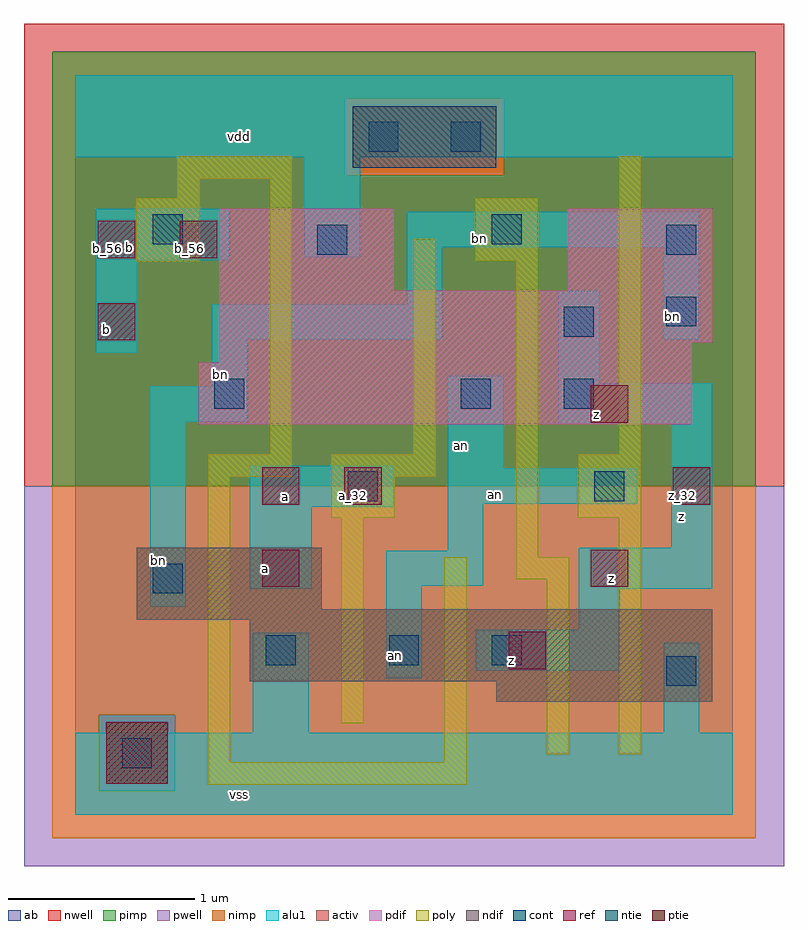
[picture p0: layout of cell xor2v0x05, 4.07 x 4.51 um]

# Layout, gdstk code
import gdstk
lib = gdstk.Library(unit=1e-6, precision=2.5e-09)
def R(c, l, rs):  # rectangles x0, y0, x1, y1
    for r in rs: c.add(gdstk.rectangle(r[:2], r[2:], *l))
ndif = (3, 0)
pdif = (4, 0)
ntie = (5, 0)
ptie = (6, 0)
ref = (24, 0)
cont = (25, 0)
pwell = (41, 0)
nwell = (42, 0)
activ = (43, 0)
pimp = (44, 0)
nimp = (45, 0)
poly = (46, 0)
alu1 = (49, 0)
ab = (63, 0)

xor2v0x05 = lib.new_cell('xor2v0x05')
R(xor2v0x05, ndif, [(2.255,0.605,3.41,0.715), (0.935,0.715,3.41,1.045), (0.33,1.045,3.41,1.1), (0.33,1.1,1.32,1.43)])
R(xor2v0x05, pdif, [(0.66,2.09,3.3,2.42), (0.77,2.42,3.3,2.53), (0.77,2.53,3.41,2.805), (0.77,2.805,1.705,3.245), (2.64,2.805,3.41,3.245)])
R(xor2v0x05, ntie, [(1.485,3.465,2.255,3.795)])
R(xor2v0x05, ptie, [(0.165,0.165,0.495,0.495)])
R(xor2v0x05, ref, [(2.32,0.78,2.52,0.98), (1,1.22,1.2,1.42), (2.76,1.22,2.96,1.42), (1,1.66,1.2,1.86), (1.44,1.66,1.64,1.86), (3.2,1.66,3.4,1.86), (2.76,2.1,2.96,2.3), (0.12,2.54,0.32,2.74), (0.12,2.98,0.32,3.18), (0.56,2.98,0.76,3.18)])
R(xor2v0x05, cont, [(0.25,0.25,0.41,0.41), (3.165,0.69,3.325,0.85), (1.02,0.8,1.18,0.96), (1.68,0.8,1.84,0.96), (2.23,0.8,2.39,0.96), (0.415,1.185,0.575,1.345), (1.46,1.68,1.62,1.84), (2.78,1.68,2.94,1.84), (0.745,2.175,0.905,2.335), (2.065,2.175,2.225,2.335), (2.615,2.175,2.775,2.335), (2.615,2.56,2.775,2.72), (3.165,2.615,3.325,2.775), (1.295,3,1.455,3.16), (3.165,3,3.325,3.16), (0.415,3.055,0.575,3.215), (2.23,3.055,2.39,3.215), (1.57,3.55,1.73,3.71), (2.01,3.55,2.17,3.71)])
R(xor2v0x05, pwell, [(-0.275,-0.275,3.795,1.76)])
R(xor2v0x05, nwell, [(-0.275,1.76,3.795,4.235)])
R(xor2v0x05, activ, [(0.165,0.165,0.495,0.495), (2.255,0.605,3.41,0.715), (0.935,0.715,3.41,1.045), (0.33,1.045,3.41,1.1), (0.33,1.1,1.32,1.43), (0.66,2.09,3.3,2.42), (0.77,2.42,3.3,2.53), (0.77,2.53,3.41,2.805), (0.77,2.805,1.705,3.245), (2.64,2.805,3.41,3.245), (1.485,3.465,2.255,3.795)])
R(xor2v0x05, pimp, [(0.125,0.125,0.535,0.535), (-0.125,1.76,3.645,3.425), (-0.125,3.425,1.445,3.835), (2.295,3.425,3.645,3.835), (-0.125,3.835,3.645,4.085)])
R(xor2v0x05, nimp, [(-0.125,-0.125,3.645,0.125), (-0.125,0.125,0.125,0.535), (0.535,0.125,3.645,0.535), (-0.125,0.535,3.645,1.76), (1.445,3.425,2.295,3.835)])
R(xor2v0x05, poly, [(0.71,0.16,2.095,0.28), (0.71,0.28,0.83,1.81), (1.975,0.28,2.095,1.38), (2.525,0.325,2.645,1.26), (2.91,0.325,3.03,1.59), (1.425,0.49,1.545,1.59), (2.36,1.26,2.645,1.38), (2.36,1.38,2.48,2.965), (1.37,1.59,1.71,1.81), (2.69,1.59,3.03,1.93), (0.71,1.81,1.16,1.93), (1.37,1.81,1.93,1.93), (1.04,1.93,1.16,3.405), (1.81,1.93,1.93,3.085), (2.91,1.93,3.03,3.525), (0.325,2.965,0.665,3.305), (2.14,2.965,2.48,3.305), (0.545,3.305,0.665,3.405), (0.545,3.405,1.16,3.525)])
R(xor2v0x05, alu1, [(0,0,3.52,0.44), (0.95,0.44,1.25,0.975), (3.15,0.44,3.34,0.92), (1.665,0.73,1.855,1.225), (2.145,0.77,2.915,0.99), (2.695,0.99,2.915,1.21), (0.4,1.115,0.59,2.105), (0.935,1.21,1.265,1.65), (2.695,1.21,3.41,1.43), (1.665,1.225,2.185,1.415), (1.995,1.415,2.185,1.665), (3.19,1.43,3.41,2.09), (0.935,1.65,1.705,1.87), (1.995,1.665,3.01,1.855), (1.995,1.855,2.295,2.35), (2.585,2.09,3.41,2.31), (0.4,2.105,0.92,2.295), (0.73,2.295,0.92,2.545), (2.585,2.31,2.805,2.805), (0.11,2.475,0.33,2.97), (0.73,2.545,1.965,2.735), (3.15,2.545,3.34,3.04), (1.775,2.735,1.965,3.04), (0.11,2.97,0.825,3.245), (1.225,2.985,1.525,3.52), (1.775,3.04,3.34,3.23), (0,3.52,3.52,3.96)])
R(xor2v0x05, ab, [(0,0,3.52,3.96)])
xor2v0x05.add(gdstk.Label('vss', (0.88,0.11), layer=49, texttype=0))
xor2v0x05.add(gdstk.Label('z', (2.3375,0.825), layer=49, texttype=0))
xor2v0x05.add(gdstk.Label('z', (2.8725,1.265), layer=49, texttype=0))
xor2v0x05.add(gdstk.Label('an', (1.7125,0.8525), layer=49, texttype=0))
xor2v0x05.add(gdstk.Label('z', (3.245,1.595), layer=49, texttype=0))
xor2v0x05.add(gdstk.Label('a', (1.0175,1.32), layer=49, texttype=0))
xor2v0x05.add(gdstk.Label('an', (2.2475,1.7125), layer=49, texttype=0))
xor2v0x05.add(gdstk.Label('z', (2.79,2.145), layer=49, texttype=0))
xor2v0x05.add(gdstk.Label('bn', (3.1975,2.6675), layer=49, texttype=0))
xor2v0x05.add(gdstk.Label('an', (2.07,1.9775), layer=49, texttype=0))
xor2v0x05.add(gdstk.Label('a', (1.1275,1.705), layer=49, texttype=0))
xor2v0x05.add(gdstk.Label('bn', (0.4475,1.3625), layer=49, texttype=0))
xor2v0x05.add(gdstk.Label('bn', (0.7775,2.3575), layer=49, texttype=0))
xor2v0x05.add(gdstk.Label('b', (0.165,2.5975), layer=49, texttype=0))
xor2v0x05.add(gdstk.Label('bn', (2.165,3.0875), layer=49, texttype=0))
xor2v0x05.add(gdstk.Label('b', (0.2875,3.0375), layer=49, texttype=0))
xor2v0x05.add(gdstk.Label('vdd', (0.88,3.63), layer=49, texttype=0))
xor2v0x05.add(gdstk.Label('z_40', (2.81,2.15), layer=24, texttype=0))
xor2v0x05.add(gdstk.Label('z_24', (2.81,1.27), layer=24, texttype=0))
xor2v0x05.add(gdstk.Label('z_32', (3.25,1.71), layer=24, texttype=0))
xor2v0x05.add(gdstk.Label('b_56', (0.61,3.03), layer=24, texttype=0))
xor2v0x05.add(gdstk.Label('a_24', (1.05,1.27), layer=24, texttype=0))
xor2v0x05.add(gdstk.Label('a_32', (1.05,1.71), layer=24, texttype=0))
xor2v0x05.add(gdstk.Label('b_48', (0.17,2.59), layer=24, texttype=0))
xor2v0x05.add(gdstk.Label('b_56', (0.17,3.03), layer=24, texttype=0))
xor2v0x05.add(gdstk.Label('z_16', (2.37,0.83), layer=24, texttype=0))
xor2v0x05.add(gdstk.Label('a_32', (1.49,1.71), layer=24, texttype=0))

lib.write_gds('xor2v0x05.gds')
